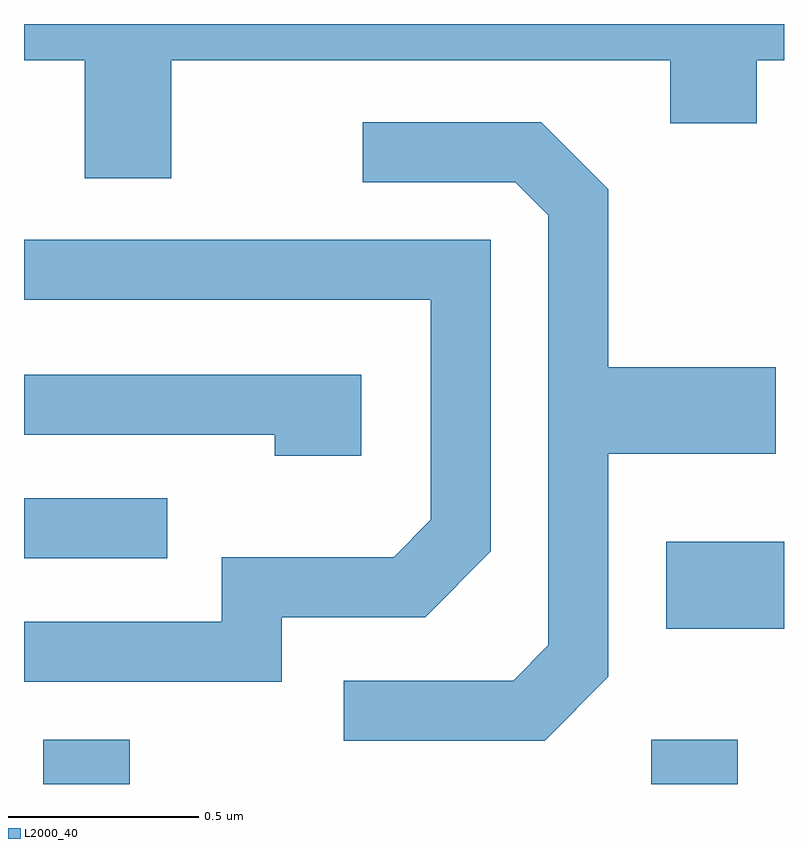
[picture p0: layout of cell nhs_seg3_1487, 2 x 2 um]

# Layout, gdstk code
import gdstk
lib = gdstk.Library(unit=1e-6, precision=1e-09)
def R(c, l, rs):  # rectangles x0, y0, x1, y1
    for r in rs: c.add(gdstk.rectangle(r[:2], r[2:], *l))
def P(c, l, *ps):  # polygons
    for p in ps: c.add(gdstk.Polygon(p, *l))
L2000_40 = (2000, 40)

nhs_seg3_1487 = lib.new_cell('nhs_seg3_1487')
R(nhs_seg3_1487, L2000_40, [(195.661,1232.892,195.889,1233.009), (197.261,1232.892,197.489,1233.009), (197.301,1233.301,197.611,1233.529), (195.611,1233.486,195.988,1233.644)])
P(nhs_seg3_1487, L2000_40, [(195.999,1234.796),(197.311,1234.796),(197.311,1234.631),(197.539,1234.631),(197.539,1234.796),(197.611,1234.796),(197.611,1234.892),(195.611,1234.892),(195.611,1234.796),(195.771,1234.796),(195.771,1234.486),(195.999,1234.486)],
  [(197.149,1233.174),(197.149,1233.761),(197.589,1233.761),(197.589,1233.989),(197.149,1233.989),(197.149,1234.457),(196.972,1234.634),(196.503,1234.634),(196.503,1234.476),(196.904,1234.476),(196.991,1234.389),(196.991,1233.257),(196.899,1233.164),(196.453,1233.164),(196.453,1233.006),(196.982,1233.006)],
  [(196.289,1233.331),(196.667,1233.331),(196.839,1233.504),(196.839,1234.324),(195.611,1234.324),(195.611,1234.166),(196.681,1234.166),(196.681,1233.587),(196.584,1233.489),(196.131,1233.489),(196.131,1233.319),(195.611,1233.319),(195.611,1233.161),(196.289,1233.161)],
  [(196.499,1233.969),(195.611,1233.969),(195.611,1233.811),(196.271,1233.811),(196.271,1233.756),(196.499,1233.756)])

lib.write_gds('nhs_seg3_1487.gds')
